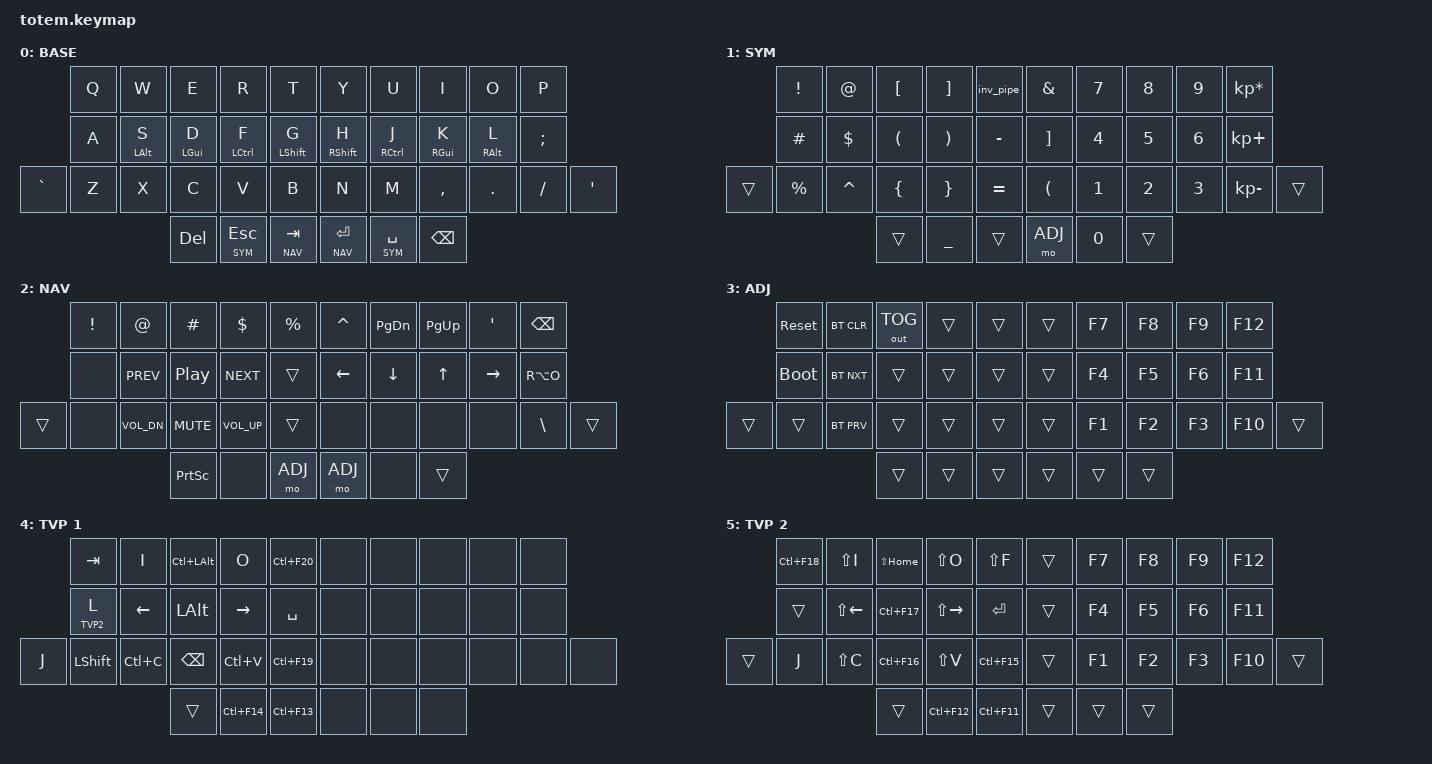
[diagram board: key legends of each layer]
//
//                                                        ▀▀▀▀▀     ▀▀▀▀▀          ▀▀█▀▀
//                                                        ▄▀▀▀▄  ▄  ▄▀▀▀▄  ▄  ▄▀▀▀▄  █  ▄▀▀▀▄
//                                                        █   █  █  █   █  █  █   █  █  █   █
//                                                         ▀▀▀   █   ▀▀▀   █   ▀▀▀   ▀   ▀▀▀
//                                                               █      ▄▄▄█▄▄▄    █   █  
//                                                               ▀      █  █  █     █▄█
//                                                             ▀▀▀▀▀    █  █  █      ▀
//                                                                      ▀  ▀  ▀
//
// ▄▄▄▄▄▄▄▄▄▄▄▄▄▄▄▄▄▄▄▄▄▄▄▄▄▄▄▄▄▄▄▄▄▄▄▄▄▄▄▄▄▄▄▄▄▄▄▄▄▄▄▄▄▄▄▄▄▄▄▄▄▄▄▄▄▄▄▄▄▄▄▄▄▄▄▄▄▄▄▄▄▄▄▄▄▄▄▄▄▄▄▄▄▄▄▄▄▄▄▄▄▄▄▄▄▄▄▄▄▄▄▄▄▄▄▄▄▄▄▄▄▄▄▄▄▄▄▄▄▄▄▄▄▄▄▄▄▄▄▄▄▄▄▄▄▄▄▄▄
       

#include <behaviors.dtsi>
#include <dt-bindings/zmk/keys.h>
#include <dt-bindings/zmk/bt.h>
#include <dt-bindings/zmk/outputs.h>


// KEY POSITIONS
//             ┏━━━━━━━━━━━┳━━━━━━━━━━━┳━━━━━━━━━━━┳━━━━━━━━━━━┳━━━━━━━━━━━┓   ┏━━━━━━━━━━━┳━━━━━━━━━━━┳━━━━━━━━━━━┳━━━━━━━━━━━┳━━━━━━━━━━━┓
//             ┃     0     ┃     1     ┃     2     ┃     3     ┃     4     ┃   ┃     5     ┃     6     ┃     7     ┃     8     ┃     9     ┃
// ┏━━━━━━━━━━━┣━━━━━━━━━━━╋━━━━━━━━━━━╋━━━━━━━━━━━╋━━━━━━━━━━━╋━━━━━━━━━━━┫   ┣━━━━━━━━━━━╋━━━━━━━━━━━╋━━━━━━━━━━━╋━━━━━━━━━━━╋━━━━━━━━━━━┫━━━━━━━━━━━┓
// ┃     20    ┃     10    ┃     11    ┃     12    ┃     13    ┃     14    ┃   ┃     15    ┃     16    ┃     17    ┃     18    ┃     19    ┃     31    ┃
// ┗━━━━━━━━━━━╋━━━━━━━━━━━╋━━━━━━━━━━━╋━━━━━━━━━━━╋━━━━━━━━━━━╋━━━━━━━━━━━┫   ┣━━━━━━━━━━━╋━━━━━━━━━━━╋━━━━━━━━━━━╋━━━━━━━━━━━╋━━━━━━━━━━━╋━━━━━━━━━━━┛
//       20    ┃     21    ┃     22    ┃     23    ┃     24    ┃     25    ┃   ┃     26    ┃     27    ┃     28    ┃     29    ┃     30    ┃     31
//             ┻━━━━━━━━━━━┻━━━━━━━━━━━╋━━━━━━━━━━━╋━━━━━━━━━━━╋━━━━━━━━━━━┫   ┣━━━━━━━━━━━╋━━━━━━━━━━━╋━━━━━━━━━━━╋━━━━━━━━━━━┻━━━━━━━━━━━┻
//                                     ┃     32    ┃     33    ┃     34    ┃   ┃     35    ┃     36    ┃     37    ┃
//                                     ┗━━━━━━━━━━━┻━━━━━━━━━━━┻━━━━━━━━━━━┛   ┗━━━━━━━━━━━┻━━━━━━━━━━━┻━━━━━━━━━━━┛

#define BASE 0
#define SYM  1
#define NAV  2
#define ADJ  3
#define TVP1 4
#define TVP2 5

&mt {
// TODO: switch mt homerow mods to allow double tap to repeat entry
  quick-tap-ms = <100>;
  global-quick-tap;
  flavor = "tap-preferred";
  tapping-term-ms = <125>;
};

/ {
     combos {
            compatible = "zmk,combos";
            combo_esc {
                timeout-ms = <50>;
                key-positions = <0 1>;
                bindings = <&kp ESC>;
            };
            combo_inverted_pipe {
                //timeout-ms = <50>;
                key-positions = <36 16 4>;
                bindings = <&kp BSLH>;
            };
            combo_tvp {
                timeout-ms = <100>;
                key-positions = <11 12 13>;
                bindings = <&tog TVP1>;
            };
    };

     behaviors {
        inv_pipe: inverted_pipe {
             compatible = "zmk,behavior-mod-morph";
             #binding-cells = <0>;
             bindings = <&kp PIPE>, <&kp BSLH>;
             mods = <(MOD_LSFT|MOD_RSFT)>;
         };

     };

    macros {
        gif: gif {
            label = "giphy";
            compatible = "zmk,behavior-macro";
            #binding-cells = <0>;
            bindings
                = <&macro_press &kp LSHFT>
                , <&macro_tap &kp N2>
                , <&macro_release &kp LSHFT>
                , <&macro_tap &kp G &kp I &kp F>
                ;
        };
    };

        keymap {
                compatible = "zmk,keymap";
// ▄▄▄▄▄▄▄▄▄▄▄▄▄▄▄▄▄▄▄▄▄▄▄▄▄▄▄▄▄▄▄▄▄▄▄▄▄▄▄▄▄▄▄▄▄▄▄▄▄▄▄▄▄▄▄▄▄▄▄▄▄▄▄▄▄▄▄▄▄▄▄▄▄▄▄▄▄▄▄▄▄▄▄▄▄▄▄▄▄▄▄▄▄▄▄▄▄▄▄▄▄▄▄▄▄▄▄▄▄▄▄▄▄▄▄▄▄▄▄▄▄▄▄▄▄▄▄▄▄▄▄▄▄▄▄▄▄▄▄▄▄▄▄▄▄▄▄▄▄

                base_layer {
// ┏━━━━━━━━━━━━━━━━━━━━━━━━━━━━━━━━━━━━━━━┓
label= "BASE"                              ;
// ┗━━━━━━━━━━━━━━━━━━━━━━━━━━━━━━━━━━━━━━━┛
//             ┏━━━━━━━━━━━┳━━━━━━━━━━━┳━━━━━━━━━━━┳━━━━━━━━━━━┳━━━━━━━━━━━┓   ┏━━━━━━━━━━━┳━━━━━━━━━━━┳━━━━━━━━━━━┳━━━━━━━━━━━┳━━━━━━━━━━━┓
//             ┃     Q     ┃     W     ┃     E     ┃     R     ┃     T     ┃   ┃     Y     ┃     U     ┃     I     ┃     O     ┃     P     ┃
// ┏━━━━━━━━━━━┣━━━━━━━━━━━╋━━━━━━━━━━━╋━━━━━━━━━━━╋━━━━━━━━━━━╋━━━━━━━━━━━┫   ┣━━━━━━━━━━━╋━━━━━━━━━━━╋━━━━━━━━━━━╋━━━━━━━━━━━╋━━━━━━━━━━━┫━━━━━━━━━━━┓
// ┃     `     ┃     A     ┃     S     ┃     D     ┃     F     ┃     G     ┃   ┃     H     ┃     J     ┃     K     ┃     L     ┃     ;     ┃     '     ┃
// ┗━━━━━━━━━━━╋━━━━━━━━━━━╋━━━━━━━━━━━╋━━━━━━━━━━━╋━━━━━━━━━━━╋━━━━━━━━━━━┫   ┣━━━━━━━━━━━╋━━━━━━━━━━━╋━━━━━━━━━━━╋━━━━━━━━━━━╋━━━━━━━━━━━╋━━━━━━━━━━━┛
//             ┃     Z     ┃     X     ┃     C     ┃     V     ┃     B     ┃   ┃     K     ┃     M     ┃     ,     ┃     .     ┃     /     ┃
//             ┻━━━━━━━━━━━┻━━━━━━━━━━━╋━━━━━━━━━━━╋━━━━━━━━━━━╋━━━━━━━━━━━┫   ┣━━━━━━━━━━━╋━━━━━━━━━━━╋━━━━━━━━━━━╋━━━━━━━━━━━┻━━━━━━━━━━━┻
//                                     ┃    DEL    ┃    ESC    ┃    TAB    ┃   ┃   ENTER   ┃   SPACE   ┃   BSPC    ┃
//                                     ┗━━━━━━━━━━━┻━━━━━━━━━━━┻━━━━━━━━━━━┛   ┗━━━━━━━━━━━┻━━━━━━━━━━━┻━━━━━━━━━━━┛
 bindings = <
// ╷           ╷           ╷           ╷           ╷           ╷           ╷   ╷           ╷           ╷           ╷           ╷           ╷           ╷

                &kp Q       &kp W       &kp E       &kp R       &kp T           &kp Y       &kp U       &kp I       &kp O       &kp P
                &kp A       &mt LALT S  &mt LGUI D  &mt LCTRL F &mt LSHFT G     &mt RSHFT H &mt RCTRL J &mt RGUI K  &mt RALT L  &kp SEMI
    &kp GRAVE   &kp Z       &kp X       &kp C       &kp V       &kp B           &kp N       &kp M       &kp COMMA   &kp DOT     &kp FSLH    &kp SQT
                                        &kp DEL   &lt SYM ESC   &lt NAV TAB     &lt NAV RET &lt SYM SPACE &kp BSPC
                        >;
                };

// ▄▄▄▄▄▄▄▄▄▄▄▄▄▄▄▄▄▄▄▄▄▄▄▄▄▄▄▄▄▄▄▄▄▄▄▄▄▄▄▄▄▄▄▄▄▄▄▄▄▄▄▄▄▄▄▄▄▄▄▄▄▄▄▄▄▄▄▄▄▄▄▄▄▄▄▄▄▄▄▄▄▄▄▄▄▄▄▄▄▄▄▄▄▄▄▄▄▄▄▄▄▄▄▄▄▄▄▄▄▄▄▄▄▄▄▄▄▄▄▄▄▄▄▄▄▄▄▄▄▄▄▄▄▄▄▄▄▄▄▄▄▄▄▄▄▄▄▄▄
// ▄▄▄▄▄▄▄▄▄▄▄▄▄▄▄▄▄▄▄▄▄▄▄▄▄▄▄▄▄▄▄▄▄▄▄▄▄▄▄▄▄▄▄▄▄▄▄▄▄▄▄▄▄▄▄▄▄▄▄▄▄▄▄▄▄▄▄▄▄▄▄▄▄▄▄▄▄▄▄▄▄▄▄▄▄▄▄▄▄▄▄▄▄▄▄▄▄▄▄▄▄▄▄▄▄▄▄▄▄▄▄▄▄▄▄▄▄▄▄▄▄▄▄▄▄▄▄▄▄▄▄▄▄▄▄▄▄▄▄▄▄▄▄▄▄▄▄▄▄
//
//
                sym_layer {
// ┏━━━━━━━━━━━━━━━━━━━━━━━━━━━━━━━━━━━━━━━┓
label= "SYM"                               ;
// ┗━━━━━━━━━━━━━━━━━━━━━━━━━━━━━━━━━━━━━━━┛
//             ┏━━━━━━━━━━━┳━━━━━━━━━━━┳━━━━━━━━━━━┳━━━━━━━━━━━┳━━━━━━━━━━━┓   ┏━━━━━━━━━━━┳━━━━━━━━━━━┳━━━━━━━━━━━┳━━━━━━━━━━━┳━━━━━━━━━━━┓
//             ┃     !     ┃     @     ┃     [     ┃     ]     ┃     |\    ┃   ┃     &     ┃     7     ┃     8     ┃     9     ┃     +     ┃
//             ┣━━━━━━━━━━━╋━━━━━━━━━━━╋━━━━━━━━━━━╋━━━━━━━━━━━╋━━━━━━━━━━━┫   ┣━━━━━━━━━━━╋━━━━━━━━━━━╋━━━━━━━━━━━╋━━━━━━━━━━━╋━━━━━━━━━━━┫
//             ┃     #     ┃     $     ┃     (     ┃     )     ┃     -     ┃   ┃     ]     ┃     4     ┃     5     ┃     6     ┃     -     ┃
// ┏━━━━━━━━━━━╋━━━━━━━━━━━╋━━━━━━━━━━━╋━━━━━━━━━━━╋━━━━━━━━━━━╋━━━━━━━━━━━┫   ┣━━━━━━━━━━━╋━━━━━━━━━━━╋━━━━━━━━━━━╋━━━━━━━━━━━╋━━━━━━━━━━━╋━━━━━━━━━━━┓
// ┃           ┃     %     ┃     ^     ┃     {     ┃     }     ┃     =     ┃   ┃     (     ┃     1     ┃     2     ┃     3     ┃     *     ┃           ┃
// ┗━━━━━━━━━━━┻━━━━━━━━━━━┻━━━━━━━━━━━╋━━━━━━━━━━━╋━━━━━━━━━━━╋━━━━━━━━━━━┫   ┣━━━━━━━━━━━╋━━━━━━━━━━━╋━━━━━━━━━━━╋━━━━━━━━━━━┻━━━━━━━━━━━┻━━━━━━━━━━━┛
//                                     ┃           ┃     _     ┃    SPC    ┃   ┃    DEL    ┃     0     ┃           ┃
//                                     ┗━━━━━━━━━━━┻━━━━━━━━━━━┻━━━━━━━━━━━┛   ┗━━━━━━━━━━━┻━━━━━━━━━━━┻━━━━━━━━━━━┛
 bindings = <
// ╷           ╷           ╷           ╷           ╷           ╷           ╷   ╷           ╷           ╷           ╷           ╷           ╷           ╷

                &kp EXCL    &kp AT     &kp LBKT    &kp RBKT    &inv_pipe       &kp AMPS    &kp N7      &kp N8      &kp N9   &kp KP_MULTIPLY
                &kp HASH    &kp DLLR   &kp LPAR    &kp RPAR    &kp MINUS       &kp RBKT    &kp N4      &kp N5      &kp N6   &kp KP_PLUS
    &trans      &kp PRCNT   &kp CARET  &kp LBRC    &kp RBRC    &kp EQUAL       &kp LPAR    &kp N1      &kp N2      &kp N3   &kp KP_MINUS &trans
                                        &trans     &kp UNDER   &trans          &mo ADJ     &kp N0   &trans
                        >;
                };

// ▄▄▄▄▄▄▄▄▄▄▄▄▄▄▄▄▄▄▄▄▄▄▄▄▄▄▄▄▄▄▄▄▄▄▄▄▄▄▄▄▄▄▄▄▄▄▄▄▄▄▄▄▄▄▄▄▄▄▄▄▄▄▄▄▄▄▄▄▄▄▄▄▄▄▄▄▄▄▄▄▄▄▄▄▄▄▄▄▄▄▄▄▄▄▄▄▄▄▄▄▄▄▄▄▄▄▄▄▄▄▄▄▄▄▄▄▄▄▄▄▄▄▄▄▄▄▄▄▄▄▄▄▄▄▄▄▄▄▄▄▄▄▄▄▄▄▄▄▄


                nav_layer {
// ┏━━━━━━━━━━━━━━━━━━━━━━━━━━━━━━━━━━━━━━━┓
label= "NAV"                               ;
// ┗━━━━━━━━━━━━━━━━━━━━━━━━━━━━━━━━━━━━━━━┛
//             ┏━━━━━━━━━━━┳━━━━━━━━━━━┳━━━━━━━━━━━┳━━━━━━━━━━━┳━━━━━━━━━━━┓   ┏━━━━━━━━━━━┳━━━━━━━━━━━┳━━━━━━━━━━━┳━━━━━━━━━━━┳━━━━━━━━━━━┓
//             ┃     !     ┃     @     ┃     #     ┃     $     ┃     %     ┃   ┃     ˆ     ┃   PGDN    ┃   PGUP    ┃     '     ┃    BSPC   ┃
//             ┣━━━━━━━━━━━╋━━━━━━━━━━━╋━━━━━━━━━━━╋━━━━━━━━━━━╋━━━━━━━━━━━┫   ┣━━━━━━━━━━━╋━━━━━━━━━━━╋━━━━━━━━━━━╋━━━━━━━━━━━╋━━━━━━━━━━━┫
//             ┃           ┃    <<     ┃    ||>    ┃     >>    ┃           ┃   ┃   LEFT    ┃   DOWN    ┃    UP     ┃    RIGHT  ┃     Ö     ┃
// ┏━━━━━━━━━━━╋━━━━━━━━━━━╋━━━━━━━━━━━╋━━━━━━━━━━━╋━━━━━━━━━━━╋━━━━━━━━━━━┫   ┣━━━━━━━━━━━╋━━━━━━━━━━━╋━━━━━━━━━━━╋━━━━━━━━━━━╋━━━━━━━━━━━╋━━━━━━━━━━━┓
// ┃           ┃           ┃   VOL-    ┃    MUTE   ┃    VOL+   ┃           ┃   ┃           ┃           ┃           ┃           ┃     \     ┃           ┃
// ┗━━━━━━━━━━━┻━━━━━━━━━━━┻━━━━━━━━━━━╋━━━━━━━━━━━╋━━━━━━━━━━━╋━━━━━━━━━━━┫   ┣━━━━━━━━━━━╋━━━━━━━━━━━╋━━━━━━━━━━━╋━━━━━━━━━━━┻━━━━━━━━━━━┻━━━━━━━━━━━┛
//                                     ┃  PRNTSCRN ┃           ┃    ADJ    ┃   ┃           ┃           ┃           ┃
//                                     ┗━━━━━━━━━━━┻━━━━━━━━━━━┻━━━━━━━━━━━┛   ┗━━━━━━━━━━━┻━━━━━━━━━━━┻━━━━━━━━━━━┛
 bindings = <
// ╷           ╷           ╷           ╷           ╷           ╷           ╷   ╷           ╷           ╷           ╷           ╷           ╷           ╷

                &kp EXCL    &kp AT      &kp HASH    &kp DLLR    &kp PRCNT       &kp CARET    &kp PG_DN  &kp PG_UP   &kp SQT     &kp BSPC
                &none       &kp C_PREV  &kp C_PP    &kp C_NEXT  &trans          &kp LEFT     &kp DOWN   &kp UP      &kp RIGHT   &kp RA(O)
    &trans      &none       &kp C_VOL_DN &kp C_MUTE &kp C_VOL_UP &trans         &none        &none      &none       &none       &kp BSLH   &trans
                                        &kp PSCRN   &none        &mo ADJ        &mo ADJ      &none      &trans
                        >;
                };

// ▄▄▄▄▄▄▄▄▄▄▄▄▄▄▄▄▄▄▄▄▄▄▄▄▄▄▄▄▄▄▄▄▄▄▄▄▄▄▄▄▄▄▄▄▄▄▄▄▄▄▄▄▄▄▄▄▄▄▄▄▄▄▄▄▄▄▄▄▄▄▄▄▄▄▄▄▄▄▄▄▄▄▄▄▄▄▄▄▄▄▄▄▄▄▄▄▄▄▄▄▄▄▄▄▄▄▄▄▄▄▄▄▄▄▄▄▄▄▄▄▄▄▄▄▄▄▄▄▄▄▄▄▄▄▄▄▄▄▄▄▄▄▄▄▄▄▄▄▄


                adjust_layer {
// ┏━━━━━━━━━━━━━━━━━━━━━━━━━━━━━━━━━━━━━━━┓
label= "ADJ"                               ;
// ┗━━━━━━━━━━━━━━━━━━━━━━━━━━━━━━━━━━━━━━━┛
//             ┏━━━━━━━━━━━┳━━━━━━━━━━━┳━━━━━━━━━━━┳━━━━━━━━━━━┳━━━━━━━━━━━┓   ┏━━━━━━━━━━━┳━━━━━━━━━━━┳━━━━━━━━━━━┳━━━━━━━━━━━┳━━━━━━━━━━━┓
//             ┃   RESET   ┃ BT CLEAR  ┃  OUT TOG  ┃           ┃           ┃   ┃           ┃    F7     ┃    F8     ┃    F9     ┃    F12    ┃
//             ┣━━━━━━━━━━━╋━━━━━━━━━━━╋━━━━━━━━━━━╋━━━━━━━━━━━╋━━━━━━━━━━━┫   ┣━━━━━━━━━━━╋━━━━━━━━━━━╋━━━━━━━━━━━╋━━━━━━━━━━━╋━━━━━━━━━━━┫
//             ┃ BOOTLOAD  ┃ BT NEXT   ┃           ┃           ┃           ┃   ┃           ┃    F4     ┃    F5     ┃    F6     ┃    F11    ┃
// ┏━━━━━━━━━━━╋━━━━━━━━━━━╋━━━━━━━━━━━╋━━━━━━━━━━━╋━━━━━━━━━━━╋━━━━━━━━━━━┫   ┣━━━━━━━━━━━╋━━━━━━━━━━━╋━━━━━━━━━━━╋━━━━━━━━━━━╋━━━━━━━━━━━╋━━━━━━━━━━━┓
// ┃           ┃           ┃ BT PREV   ┃           ┃           ┃           ┃   ┃           ┃    F1     ┃    F2     ┃    F3     ┃    F10    ┃           ┃
// ┗━━━━━━━━━━━┻━━━━━━━━━━━┻━━━━━━━━━━━╋━━━━━━━━━━━╋━━━━━━━━━━━╋━━━━━━━━━━━┫   ┣━━━━━━━━━━━╋━━━━━━━━━━━╋━━━━━━━━━━━╋━━━━━━━━━━━┻━━━━━━━━━━━┻━━━━━━━━━━━┛
//                                     ┃           ┃           ┃           ┃   ┃           ┃           ┃           ┃
//                                     ┗━━━━━━━━━━━┻━━━━━━━━━━━┻━━━━━━━━━━━┛   ┗━━━━━━━━━━━┻━━━━━━━━━━━┻━━━━━━━━━━━┛
 bindings = <
// ╷           ╷           ╷           ╷           ╷           ╷           ╷   ╷           ╷           ╷           ╷           ╷           ╷           ╷

                &sys_reset  &bt BT_CLR &out OUT_TOG &trans      &trans          &trans      &kp F7      &kp F8      &kp F9      &kp F12
                &bootloader &bt BT_NXT  &trans      &trans      &trans          &trans      &kp F4      &kp F5      &kp F6      &kp F11  
    &trans      &trans      &bt BT_PRV  &trans      &trans      &trans          &trans      &kp F1      &kp F2      &kp F3      &kp F10     &trans         
                                        &trans      &trans      &trans          &trans      &trans      &trans      
                        >;
                };

// ▄▄▄▄▄▄▄▄▄▄▄▄▄▄▄▄▄▄▄▄▄▄▄▄▄▄▄▄▄▄▄▄▄▄▄▄▄▄▄▄▄▄▄▄▄▄▄▄▄▄▄▄▄▄▄▄▄▄▄▄▄▄▄▄▄▄▄▄▄▄▄▄▄▄▄▄▄▄▄▄▄▄▄▄▄▄▄▄▄▄▄▄▄▄▄▄▄▄▄▄▄▄▄▄▄▄▄▄▄▄▄▄▄▄▄▄▄▄▄▄▄▄▄▄▄▄▄▄▄▄▄▄▄▄▄▄▄▄▄▄▄▄▄▄▄▄▄▄▄


                tvp1_layer {
// ┏━━━━━━━━━━━━━━━━━━━━━━━━━━━━━━━━━━━━━━━┓
label= "TVP 1"                             ;
// ┗━━━━━━━━━━━━━━━━━━━━━━━━━━━━━━━━━━━━━━━┛
//             ┏━━━━━━━━━━━┳━━━━━━━━━━━┳━━━━━━━━━━━┳━━━━━━━━━━━┳━━━━━━━━━━━┓   ┏━━━━━━━━━━━┳━━━━━━━━━━━┳━━━━━━━━━━━┳━━━━━━━━━━━┳━━━━━━━━━━━┓
//             ┃ NEXT FILE ┃ MARK IN   ┃ ROTATE    ┃ MARK OUT  ┃ SHOW SNAP ┃   ┃           ┃           ┃           ┃           ┃           ┃
//             ┣━━━━━━━━━━━╋━━━━━━━━━━━╋━━━━━━━━━━━╋━━━━━━━━━━━╋━━━━━━━━━━━┫   ┣━━━━━━━━━━━╋━━━━━━━━━━━╋━━━━━━━━━━━╋━━━━━━━━━━━╋━━━━━━━━━━━┫
//             ┃ TVP II    ┃ LEFT      ┃ PAN       ┃ RIGHT     ┃ PLAY/FLIP ┃   ┃           ┃           ┃           ┃           ┃           ┃
// ┏━━━━━━━━━━━╋━━━━━━━━━━━╋━━━━━━━━━━━╋━━━━━━━━━━━╋━━━━━━━━━━━╋━━━━━━━━━━━┫   ┣━━━━━━━━━━━╋━━━━━━━━━━━╋━━━━━━━━━━━╋━━━━━━━━━━━╋━━━━━━━━━━━╋━━━━━━━━━━━┓
// ┃ FULLSCR   ┃ SHIFT     ┃ COPY      ┃ DELETE    ┃ PASTE     ┃ IMG MARK  ┃   ┃           ┃           ┃           ┃           ┃           ┃           ┃
// ┗━━━━━━━━━━━┻━━━━━━━━━━━┻━━━━━━━━━━━╋━━━━━━━━━━━╋━━━━━━━━━━━╋━━━━━━━━━━━┫   ┣━━━━━━━━━━━╋━━━━━━━━━━━╋━━━━━━━━━━━╋━━━━━━━━━━━┻━━━━━━━━━━━┻━━━━━━━━━━━┛
//                                     ┃           ┃ UNDO/SAVE ┃  SEL/MOV  ┃   ┃           ┃           ┃           ┃
//                                     ┗━━━━━━━━━━━┻━━━━━━━━━━━┻━━━━━━━━━━━┛   ┗━━━━━━━━━━━┻━━━━━━━━━━━┻━━━━━━━━━━━┛
 bindings = <
// ╷           ╷           ╷           ╷           ╷           ╷           ╷   ╷           ╷           ╷           ╷           ╷           ╷           ╷

                &kp TAB     &kp I       &kp LC(LALT) &kp O      &kp LC(F20)     &none       &none       &none       &none       &none
                &lt TVP2 L  &kp LEFT    &kp LALT    &kp RIGHT   &kp SPACE       &none       &none       &none       &none       &none
    &kp J       &kp LSHFT   &kp LC(C)   &kp BSPC    &kp LC(V)   &kp LC(F19)     &none       &none       &none       &none       &none       &none        
                                        &trans      &kp LC(F14) &kp LC(F13)     &none       &none       &none    
                        >;
                };

// ▄▄▄▄▄▄▄▄▄▄▄▄▄▄▄▄▄▄▄▄▄▄▄▄▄▄▄▄▄▄▄▄▄▄▄▄▄▄▄▄▄▄▄▄▄▄▄▄▄▄▄▄▄▄▄▄▄▄▄▄▄▄▄▄▄▄▄▄▄▄▄▄▄▄▄▄▄▄▄▄▄▄▄▄▄▄▄▄▄▄▄▄▄▄▄▄▄▄▄▄▄▄▄▄▄▄▄▄▄▄▄▄▄▄▄▄▄▄▄▄▄▄▄▄▄▄▄▄▄▄▄▄▄▄▄▄▄▄▄▄▄▄▄▄▄▄▄▄▄


                tvp2_layer {
// ┏━━━━━━━━━━━━━━━━━━━━━━━━━━━━━━━━━━━━━━━┓
label= "TVP 2"                             ;
// ┗━━━━━━━━━━━━━━━━━━━━━━━━━━━━━━━━━━━━━━━┛
//             ┏━━━━━━━━━━━┳━━━━━━━━━━━┳━━━━━━━━━━━┳━━━━━━━━━━━┳━━━━━━━━━━━┓   ┏━━━━━━━━━━━┳━━━━━━━━━━━┳━━━━━━━━━━━┳━━━━━━━━━━━┳━━━━━━━━━━━┓
//             ┃ SOLO      ┃ TOGGLE IN ┃ RESET ROT ┃ TOGGLE OUT┃ TAKE SNAP ┃   ┃           ┃           ┃           ┃           ┃           ┃
//             ┣━━━━━━━━━━━╋━━━━━━━━━━━╋━━━━━━━━━━━╋━━━━━━━━━━━╋━━━━━━━━━━━┫   ┣━━━━━━━━━━━╋━━━━━━━━━━━╋━━━━━━━━━━━╋━━━━━━━━━━━╋━━━━━━━━━━━┫
//             ┃ ---       ┃ LAST KEY  ┃ NEW KEY   ┃ NEXT KEY  ┃ ENTER     ┃   ┃           ┃           ┃           ┃           ┃           ┃
// ┏━━━━━━━━━━━╋━━━━━━━━━━━╋━━━━━━━━━━━╋━━━━━━━━━━━╋━━━━━━━━━━━╋━━━━━━━━━━━┫   ┣━━━━━━━━━━━╋━━━━━━━━━━━╋━━━━━━━━━━━╋━━━━━━━━━━━╋━━━━━━━━━━━╋━━━━━━━━━━━┓
// ┃           ┃ FULLSCR   ┃ CPY2BRUSH ┃ DEL HEAD  ┃ PSTinPLACE┃ BOOK MARK ┃   ┃           ┃           ┃           ┃           ┃           ┃           ┃
// ┗━━━━━━━━━━━┻━━━━━━━━━━━┻━━━━━━━━━━━╋━━━━━━━━━━━╋━━━━━━━━━━━╋━━━━━━━━━━━┫   ┣━━━━━━━━━━━╋━━━━━━━━━━━╋━━━━━━━━━━━╋━━━━━━━━━━━┻━━━━━━━━━━━┻━━━━━━━━━━━┛
//                                     ┃           ┃ REDO/SAV1 ┃TRANS/WARP ┃   ┃           ┃           ┃           ┃
//                                     ┗━━━━━━━━━━━┻━━━━━━━━━━━┻━━━━━━━━━━━┛   ┗━━━━━━━━━━━┻━━━━━━━━━━━┻━━━━━━━━━━━┛
 bindings = <
// ╷           ╷           ╷           ╷           ╷           ╷           ╷   ╷           ╷           ╷           ╷           ╷           ╷           ╷

                &kp LC(F18) &kp LS(I)  &kp LS(HOME) &kp LS(O)   &kp LS(F)       &trans      &kp F7      &kp F8      &kp F9      &kp F12
                &trans      &kp LS(LEFT) &kp LC(F17) &kp LS(RIGHT) &kp RET      &trans      &kp F4      &kp F5      &kp F6      &kp F11  
    &trans      &kp J       &kp LS(C)   &kp LC(F16) &kp LS(V)   &kp LC(F15)     &trans      &kp F1      &kp F2      &kp F3      &kp F10     &trans         
                                        &trans      &kp LC(F12) &kp LC(F11)     &trans      &trans      &trans      
                        >;
                };
        };
};
